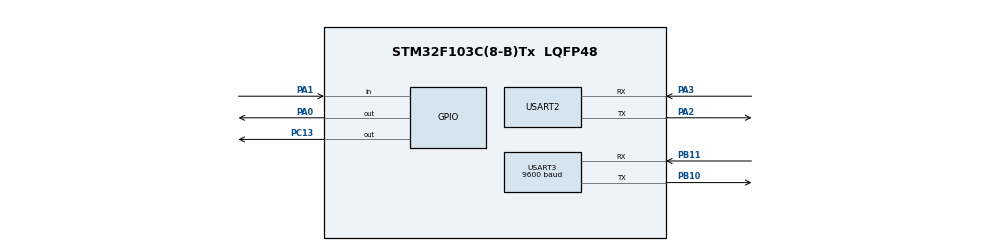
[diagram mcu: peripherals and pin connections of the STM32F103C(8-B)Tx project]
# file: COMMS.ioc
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Dma.Request0=USART3_RX
Dma.Request1=USART3_TX
Dma.USART3_RX.0.Direction=DMA_PERIPH_TO_MEMORY
Dma.USART3_RX.0.Instance=DMA1_Channel3
Dma.USART3_RX.0.MemDataAlignment=DMA_MDATAALIGN_BYTE
Dma.USART3_RX.0.MemInc=DMA_MINC_ENABLE
Dma.USART3_RX.0.Mode=DMA_CIRCULAR
Dma.USART3_RX.0.PeriphDataAlignment=DMA_PDATAALIGN_BYTE
Dma.USART3_RX.0.PeriphInc=DMA_PINC_DISABLE
Dma.USART3_RX.0.Priority=DMA_PRIORITY_MEDIUM
Dma.USART3_TX.1.Direction=DMA_MEMORY_TO_PERIPH
Dma.USART3_TX.1.Instance=DMA1_Channel2
Dma.USART3_TX.1.MemDataAlignment=DMA_MDATAALIGN_BYTE
Dma.USART3_TX.1.MemInc=DMA_MINC_ENABLE
Dma.USART3_TX.1.Mode=DMA_NORMAL
Dma.USART3_TX.1.PeriphDataAlignment=DMA_PDATAALIGN_BYTE
Dma.USART3_TX.1.PeriphInc=DMA_PINC_DISABLE
Dma.USART3_TX.1.Priority=DMA_PRIORITY_MEDIUM
Mcu.Family=STM32F1
Mcu.Name=STM32F103C(8-B)Tx
Mcu.Package=LQFP48
NVIC.DMA1_Channel2_IRQn=true\:0\:0\:false\:false\:true\:false\:true\:true
NVIC.DMA1_Channel3_IRQn=true\:0\:0\:false\:false\:true\:false\:true\:true
NVIC.PriorityGroup=NVIC_PRIORITYGROUP_4
NVIC.USART3_IRQn=true\:0\:0\:false\:false\:true\:true\:true\:true
PA0-WKUP.Signal=GPIO_Output
PA1.Signal=GPIO_Input
PA13.Mode=Serial_Wire
PA13.Signal=SYS_JTMS-SWDIO
PA14.Mode=Serial_Wire
PA14.Signal=SYS_JTCK-SWCLK
PA2.Mode=Asynchronous
PA2.Signal=USART2_TX
PA3.Mode=Asynchronous
PA3.Signal=USART2_RX
PB10.Mode=Asynchronous
PB10.Signal=USART3_TX
PB11.Mode=Asynchronous
PB11.Signal=USART3_RX
PC13-TAMPER-RTC.Signal=GPIO_Output
ProjectManager.HeapSize=0x200
ProjectManager.StackSize=0x400
ProjectManager.TargetToolchain=STM32CubeIDE
RCC.APB1Freq_Value=8000000
RCC.APB2Freq_Value=8000000
TIM2.Prescaler=7999
USART2.VirtualMode=VM_ASYNC
USART3.BaudRate=9600
USART3.VirtualMode=VM_ASYNC
VP_TIM2_VS_ClockSourceINT.Mode=Internal
board=custom

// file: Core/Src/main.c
/* USER CODE BEGIN Header */
/**
  ******************************************************************************
  * @file           : main.c
  * @brief          : Main program body
  ******************************************************************************
  * @attention
  *
  * Copyright (c) 2025 STMicroelectronics.
  * All rights reserved.
  *
  * This software is licensed under terms that can be found in the LICENSE file
  * in the root directory of this software component.
  * If no LICENSE file comes with this software, it is provided AS-IS.
  *
  ******************************************************************************
  */
/* USER CODE END Header */
#include "main.h"

/* USER CODE BEGIN Includes */
#include "hc05_driver.h"
#include <stdio.h>
#include <string.h>
/* USER CODE END Includes */

TIM_HandleTypeDef htim2;

UART_HandleTypeDef huart2;
UART_HandleTypeDef huart3;
DMA_HandleTypeDef hdma_usart3_rx;
DMA_HandleTypeDef hdma_usart3_tx;

/* USER CODE BEGIN PV */
// Global telemetry data structure
TelemetryData telemetry = {
    .timestamp = "2025-07-03 12:00:00",
    .system_status = "ONLINE",
    .adcs = {
        .status = "ONLINE",
        .pitch = 12.3f,
        .roll = -5.7f,
        .yaw = 80.0f,
        .gps = {
            .latitude = 31.2001f,
            .longitude = 29.9187f,
            .altitude = 407.2f
        },
        .light_sensors = {
            .face_a = 842,
            .face_b = 156,
            .face_c = 102,
            .face_d = 390
        },
        .temperature = 80
    },
    .eps = {
        .status = "OFFLINE",
        .battery_voltage = 7.4f,
        .battery_percentage = 22,
        .current = 0.32f,
        .solar_power = 2.1f,
        .charging_status = "NOT Charging",
        .boost_output = 12,
        .temperature = 50
    },
    .obc = {
        .status = "ONLINE",
        .data_logging = "NOT ACTIVE",
        .storage_usage = 86,
        .rtc_sync = "OK",
        .i2c_status = "NOT Connected",
        .command_queue = 3
    },
    .comms = {
        .status = "OFFLINE",
        .rf_link = "MEDIUM",
        .signal_strength = -85,
        .packets_sent = 1000,
        .packets_received = 1198,
        .last_command = "RESET"
    },
    .payload = {
        .status = "OFFLINE",
        .payload_status = "CAPTURING",
        .images_today = 47,
        .last_image_size = 2.3f,
        .ai_classification = {
            .result = "Ocean Surface",
            .confidence = 94.2f
        }
    },
    .last_command_button = "NONE",
    .last_command_time = "2025-07-03T12:00:00.000Z",
    .command_status = "Idle"
};
char received_command[COMMAND_BUFFER_SIZE];
/* USER CODE END PV */

void SystemClock_Config(void);
static void MX_GPIO_Init(void);
static void MX_DMA_Init(void);
static void MX_USART3_UART_Init(void);
static void MX_TIM2_Init(void);
static void MX_USART2_UART_Init(void);
/* USER CODE BEGIN PFP */
void ProcessReceivedCommand(const char* command);
void UpdateSystemStatus(void);
/* USER CODE END PFP */

int main(void)
{

  /* MCU Configuration--------------------------------------------------------*/

  /* Reset of all peripherals, Initializes the Flash interface and the Systick. */
  HAL_Init();

  /* Configure the system clock */
  SystemClock_Config();

  /* Initialize all configured peripherals */
  MX_GPIO_Init();
  MX_DMA_Init();
  MX_USART3_UART_Init();
  MX_TIM2_Init();
  MX_USART2_UART_Init();
  /* USER CODE BEGIN 2 */
  /* Initialize HC-05 Bluetooth module */
  if (BT_Init(&huart3) != BT_OK) {
    Error_Handler();
  }

  // Start timer for periodic data transmission
  HAL_TIM_Base_Start(&htim2);

  // Initial system status update
  UpdateSystemStatus();
  /* USER CODE END 2 */

  /* Infinite loop */
  /* USER CODE BEGIN WHILE */
  while (1)
  {
	   // Heartbeat with proper static variable handling
	    static uint32_t last_heartbeat = 0;
	    if(HAL_GetTick() - last_heartbeat >= 1000) {
	        HAL_GPIO_TogglePin(GPIOC, GPIO_PIN_13);
	        last_heartbeat = HAL_GetTick();
	        printf("[SYS] Heartbeat %lu\r\n", HAL_GetTick()/1000);
	    }

	    // Handle LED blinking for command reception feedback
	    if(BT_ShouldBlinkLED()) {
	        // Quick blink to indicate command received
	        HAL_GPIO_WritePin(GPIOC, GPIO_PIN_13, GPIO_PIN_RESET);
	        HAL_Delay(50);
	        HAL_GPIO_WritePin(GPIOC, GPIO_PIN_13, GPIO_PIN_SET);
	        HAL_Delay(50);
	        HAL_GPIO_WritePin(GPIOC, GPIO_PIN_13, GPIO_PIN_RESET);
	    }

	    // Command processing with better error handling
	    if(BT_IsCommandReceived()) {
	        char cmd[COMMAND_BUFFER_SIZE];
	        BT_StatusTypeDef status = BT_ReceiveCommand(cmd, 10); // Short timeout

	        if(status == BT_OK) {
	            printf("[CMD] Processing: %s\r\n", cmd);
	            ProcessReceivedCommand(cmd);
	        } else if(status == BT_TIMEOUT) {
	            printf("[CMD] Timeout waiting for command\r\n");
	        }

	        BT_ClearCommandFlag();
	    }

	    // Telemetry transmission
	    static uint32_t last_telemetry = 0;
	    if(HAL_GetTick() - last_telemetry >= 10000) {
	        printf("[SYS] Sending telemetry...\r\n");
	        UpdateSystemStatus();

	        BT_StatusTypeDef status = BT_SendJSON(&telemetry);
	        if(status == BT_OK) {
	            printf("[SYS] Telemetry sent successfully\r\n");
	        } else if(status == BT_BUSY) {
	            printf("[WARN] UART busy, skipping this telemetry cycle\r\n");
	        } else {
	            printf("[ERR] Telemetry send failed! Status: %d\r\n", status);
	        }
	        last_telemetry = HAL_GetTick();
	    }
	    HAL_Delay(10);
    /* USER CODE END WHILE */

  }
}

void SystemClock_Config(void)
{
  RCC_OscInitTypeDef RCC_OscInitStruct = {0};
  RCC_ClkInitTypeDef RCC_ClkInitStruct = {0};

  /** Initializes the RCC Oscillators according to the specified parameters
  * in the RCC_OscInitTypeDef structure.
  */
  RCC_OscInitStruct.OscillatorType = RCC_OSCILLATORTYPE_HSI;
  RCC_OscInitStruct.HSIState = RCC_HSI_ON;
  RCC_OscInitStruct.HSICalibrationValue = RCC_HSICALIBRATION_DEFAULT;
  RCC_OscInitStruct.PLL.PLLState = RCC_PLL_NONE;
  if (HAL_RCC_OscConfig(&RCC_OscInitStruct) != HAL_OK)
  {
    Error_Handler();
  }

  /** Initializes the CPU, AHB and APB buses clocks
  */
  RCC_ClkInitStruct.ClockType = RCC_CLOCKTYPE_HCLK|RCC_CLOCKTYPE_SYSCLK
                              |RCC_CLOCKTYPE_PCLK1|RCC_CLOCKTYPE_PCLK2;
  RCC_ClkInitStruct.SYSCLKSource = RCC_SYSCLKSOURCE_HSI;
  RCC_ClkInitStruct.AHBCLKDivider = RCC_SYSCLK_DIV1;
  RCC_ClkInitStruct.APB1CLKDivider = RCC_HCLK_DIV1;
  RCC_ClkInitStruct.APB2CLKDivider = RCC_HCLK_DIV1;

  if (HAL_RCC_ClockConfig(&RCC_ClkInitStruct, FLASH_LATENCY_0) != HAL_OK)
  {
    Error_Handler();
  }
}

static void MX_TIM2_Init(void)
{

  TIM_ClockConfigTypeDef sClockSourceConfig = {0};
  TIM_MasterConfigTypeDef sMasterConfig = {0};

  htim2.Instance = TIM2;
  htim2.Init.Prescaler = 7999;
  htim2.Init.CounterMode = TIM_COUNTERMODE_UP;
  htim2.Init.Period = 65535;
  htim2.Init.ClockDivision = TIM_CLOCKDIVISION_DIV1;
  htim2.Init.AutoReloadPreload = TIM_AUTORELOAD_PRELOAD_DISABLE;
  if (HAL_TIM_Base_Init(&htim2) != HAL_OK)
  {
    Error_Handler();
  }
  sClockSourceConfig.ClockSource = TIM_CLOCKSOURCE_INTERNAL;
  if (HAL_TIM_ConfigClockSource(&htim2, &sClockSourceConfig) != HAL_OK)
  {
    Error_Handler();
  }
  sMasterConfig.MasterOutputTrigger = TIM_TRGO_RESET;
  sMasterConfig.MasterSlaveMode = TIM_MASTERSLAVEMODE_DISABLE;
  if (HAL_TIMEx_MasterConfigSynchronization(&htim2, &sMasterConfig) != HAL_OK)
  {
    Error_Handler();
  }

}

static void MX_USART2_UART_Init(void)
{

  huart2.Instance = USART2;
  huart2.Init.BaudRate = 115200;
  huart2.Init.WordLength = UART_WORDLENGTH_8B;
  huart2.Init.StopBits = UART_STOPBITS_1;
  huart2.Init.Parity = UART_PARITY_NONE;
  huart2.Init.Mode = UART_MODE_TX_RX;
  huart2.Init.HwFlowCtl = UART_HWCONTROL_NONE;
  huart2.Init.OverSampling = UART_OVERSAMPLING_16;
  if (HAL_UART_Init(&huart2) != HAL_OK)
  {
    Error_Handler();
  }

}

static void MX_USART3_UART_Init(void)
{

  huart3.Instance = USART3;
  huart3.Init.BaudRate = 9600;
  huart3.Init.WordLength = UART_WORDLENGTH_8B;
  huart3.Init.StopBits = UART_STOPBITS_1;
  huart3.Init.Parity = UART_PARITY_NONE;
  huart3.Init.Mode = UART_MODE_TX_RX;
  huart3.Init.HwFlowCtl = UART_HWCONTROL_NONE;
  huart3.Init.OverSampling = UART_OVERSAMPLING_16;
  if (HAL_UART_Init(&huart3) != HAL_OK)
  {
    Error_Handler();
  }

}

static void MX_DMA_Init(void)
{

  /* DMA controller clock enable */
  __HAL_RCC_DMA1_CLK_ENABLE();

  /* DMA interrupt init */
  /* DMA1_Channel2_IRQn interrupt configuration */
  HAL_NVIC_SetPriority(DMA1_Channel2_IRQn, 0, 0);
  HAL_NVIC_EnableIRQ(DMA1_Channel2_IRQn);
  /* DMA1_Channel3_IRQn interrupt configuration */
  HAL_NVIC_SetPriority(DMA1_Channel3_IRQn, 0, 0);
  HAL_NVIC_EnableIRQ(DMA1_Channel3_IRQn);

}

static void MX_GPIO_Init(void)
{
  GPIO_InitTypeDef GPIO_InitStruct = {0};

  /* GPIO Ports Clock Enable */
  __HAL_RCC_GPIOC_CLK_ENABLE();
  __HAL_RCC_GPIOA_CLK_ENABLE();
  __HAL_RCC_GPIOB_CLK_ENABLE();

  /*Configure GPIO pin Output Level */
  HAL_GPIO_WritePin(GPIOC, GPIO_PIN_13, GPIO_PIN_RESET);

  /*Configure GPIO pin Output Level */
  HAL_GPIO_WritePin(GPIOA, GPIO_PIN_0, GPIO_PIN_RESET);

  /*Configure GPIO pin : PC13 */
  GPIO_InitStruct.Pin = GPIO_PIN_13;
  GPIO_InitStruct.Mode = GPIO_MODE_OUTPUT_PP;
  GPIO_InitStruct.Pull = GPIO_NOPULL;
  GPIO_InitStruct.Speed = GPIO_SPEED_FREQ_LOW;
  HAL_GPIO_Init(GPIOC, &GPIO_InitStruct);

  /*Configure GPIO pin : PA0 */
  GPIO_InitStruct.Pin = GPIO_PIN_0;
  GPIO_InitStruct.Mode = GPIO_MODE_OUTPUT_PP;
  GPIO_InitStruct.Pull = GPIO_NOPULL;
  GPIO_InitStruct.Speed = GPIO_SPEED_FREQ_LOW;
  HAL_GPIO_Init(GPIOA, &GPIO_InitStruct);

  /*Configure GPIO pin : PA1 */
  GPIO_InitStruct.Pin = GPIO_PIN_1;
  GPIO_InitStruct.Mode = GPIO_MODE_INPUT;
  GPIO_InitStruct.Pull = GPIO_NOPULL;
  HAL_GPIO_Init(GPIOA, &GPIO_InitStruct);

}

/* USER CODE BEGIN 4 */
void ProcessReceivedCommand(const char* command) {
    // Simple JSON parser for our specific command
    const char* pattern = "\"last_command_button\":\"";
    char* start = strstr(command, pattern);

    if (start) {
        start += strlen(pattern); // Move to value
        char* end = strchr(start, '"');
        if (end && (end - start) < sizeof(telemetry.last_command_button)) {
            // Copy the command value
            strncpy(telemetry.last_command_button, start, end - start);
            telemetry.last_command_button[end - start] = '\0';

            // Update status
            strcpy(telemetry.command_status, "CMD_RECEIVED");

            // Visual feedback (LED already toggled in callback)
        }
    }
    printf("Received: %s\n", command); // Add to ProcessReceivedCommand
}

void UpdateSystemStatus(void) {
  // Here you would update your telemetry data from sensors
  // For now, we'll just update the timestamp

  // Update timestamp (example format)
  uint32_t tick = HAL_GetTick();
  uint32_t seconds = tick / 1000;
  uint32_t minutes = seconds / 60;
  uint32_t hours = minutes / 60;
  snprintf(telemetry.timestamp, sizeof(telemetry.timestamp),
           "2025-07-03 %02lu:%02lu:%02lu",
           hours % 24, minutes % 60, seconds % 60);

  // Update last command time
  snprintf(telemetry.last_command_time, sizeof(telemetry.last_command_time),
           "2025-07-03T%02lu:%02lu:%02lu.000Z",
           hours % 24, minutes % 60, seconds % 60);

  // You would add your actual sensor readings here
  // Example:
  // telemetry.adcs.temperature = ReadTemperatureSensor();
  // telemetry.eps.battery_percentage = ReadBatteryLevel();
}
// Redirect printf to USART2 (for debug)
int _write(int file, char *ptr, int len) {
    // Add carriage return before newline
    for(int i=0; i<len; i++) {
        if(ptr[i] == '\n') {
            char cr = '\r';
            HAL_UART_Transmit(&huart2, (uint8_t*)&cr, 1, HAL_MAX_DELAY);
        }
        HAL_UART_Transmit(&huart2, (uint8_t*)&ptr[i], 1, HAL_MAX_DELAY);
    }
    return len;
}

/* USER CODE END 4 */

void Error_Handler(void)
{
  __disable_irq();
  while (1)
  {
  }
}
